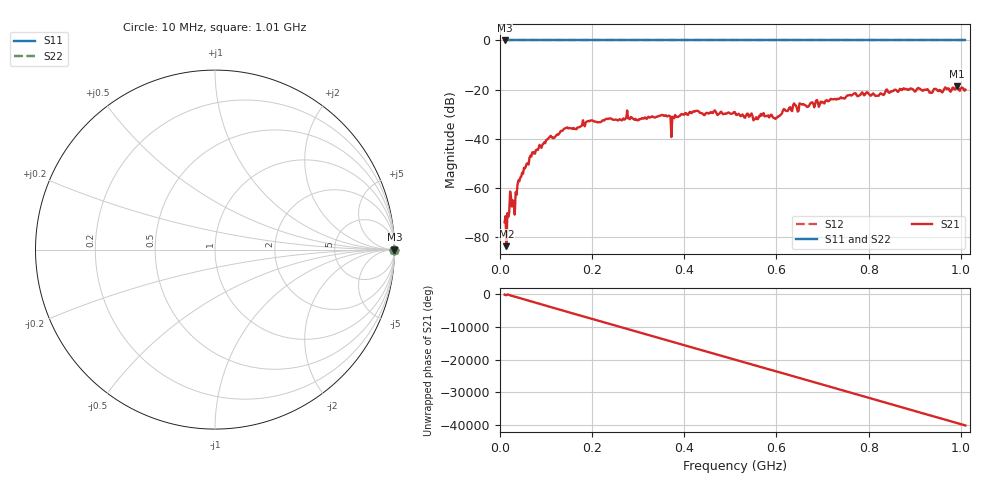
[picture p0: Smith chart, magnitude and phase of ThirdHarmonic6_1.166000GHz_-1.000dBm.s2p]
! 8/16/2025 11:45:16 AM
! C:\ANRITSUVNA\TEMP\TEMP.S2P
! CHANNEL.1
! TR.MEASUREMENT
! RAW.DATA
! RF.CORRECTION.OFF
! AVERAGING.OFF
! IF.BANDWIDTH: 5KHZ
! SWEEPTYPE:  FREQ.SWEEP(Linear)
! Reference Plane Port Info
! PORT:  PORT1  PORT2
! DISTANCE:  0  m  0  m
! TIME:  0  s  0  s
! PHASE.OFFSET:  0  deg.  0  deg.
! LOSS:  0  dB  0  dB
! REF.LOSS:  0  dB  0  dB
! REF.FREQ:  0  Hz  0  Hz
! Power Info
! POWER:  -20  dBm  -20  dBm
! EFF.POWER:  -20  dBm  -20  dBm
! SOURCE.ATTEN:  0  dB  0  dB
! TEST.ATTEN:  0  dB  0  dB
# GHZ S RI R 50.0
! FREQ.GHZ  S11RE  S11IM  S21RE  S21IM  S12RE  S12IM  S22RE  S22IM
!; PortSelection: Port_12
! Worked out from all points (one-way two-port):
!   501 points, 10 MHz to 1.01 GHz, reference 50 ohm
!   highest |S21| = -18.70 dB at 992 MHz (marker M1); lowest = -83.7 dB at 14 MHz (marker M2)
!   lowest |S11| = 0.0 dB at 10 MHz (marker M3)
!   |S11| at or under -10 dB: nowhere
!   |S22| runs from 0.0 to 0.0 dB; largest |S21 - S12| = 1.1
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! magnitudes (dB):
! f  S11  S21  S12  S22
! 10 MHz  0.0  -74.0  0.0  0.0
! 14 MHz  0.0  -83.7  0.0  0.0
! 20 MHz  0.0  -70.0  0.0  0.0
! 26 MHz  0.0  -67.6  0.0  0.0
! 30 MHz  0.0  -66.4  0.0  0.0
! 42 MHz  0.0  -57.3  0.0  0.0
! 68 MHz  0.0  -47.3  0.0  0.0
! 106 MHz  0.0  -39.6  0.0  0.0
! 178 MHz  0.0  -34.6  0.0  0.0
! 344 MHz  0.0  -30.8  0.0  0.0
! 364 MHz  0.0  -30.9  0.0  0.0
! 374 MHz  0.0  -31.0  0.0  0.0
! 378 MHz  0.0  -31.7  0.0  0.0
! 424 MHz  0.0  -28.7  0.0  0.0
! 510 MHz  0.0  -29.2  0.0  0.0
! 598 MHz  0.0  -31.9  0.0  0.0
! 640 MHz  0.0  -26.1  0.0  0.0
! 678 MHz  0.0  -25.2  0.0  0.0
! 768 MHz  0.0  -21.6  0.0  0.0
! 844 MHz  0.0  -21.3  0.0  0.0
! 992 MHz  0.0  -18.7  0.0  0.0
! 1.01 GHz  0.0  -20.1  0.0  0.0
